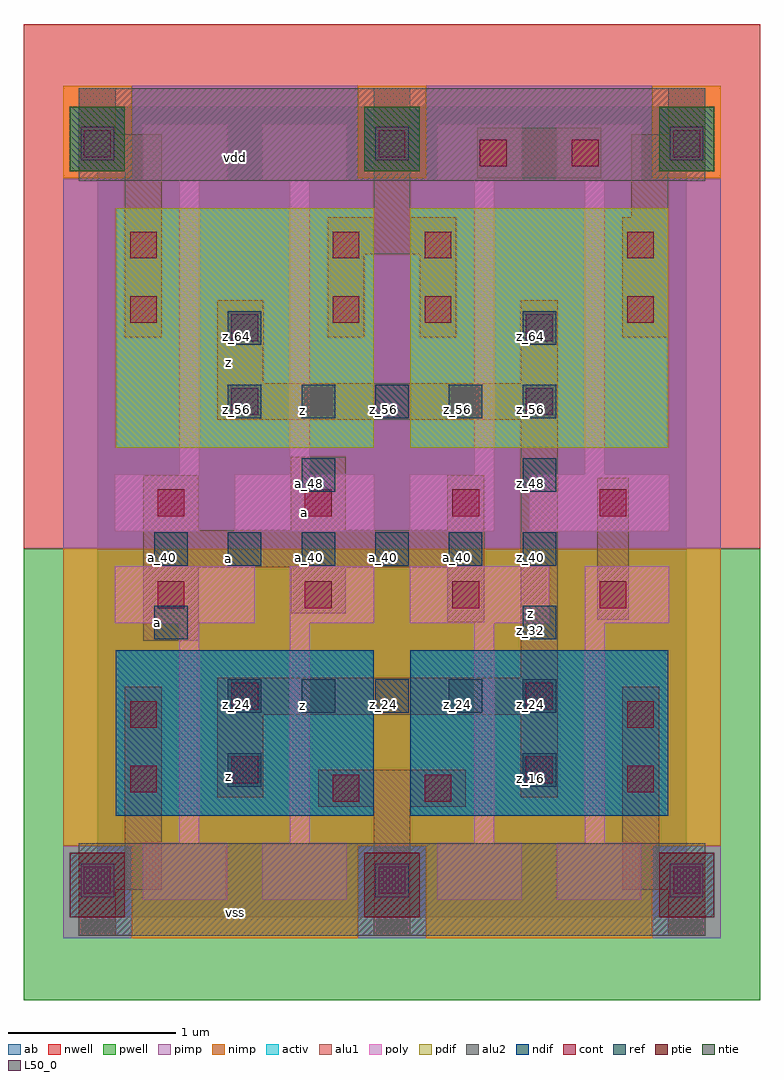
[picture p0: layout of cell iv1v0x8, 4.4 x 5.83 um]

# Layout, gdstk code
import gdstk
lib = gdstk.Library(unit=1e-6, precision=2.5e-09)
def R(c, l, rs):  # rectangles x0, y0, x1, y1
    for r in rs: c.add(gdstk.rectangle(r[:2], r[2:], *l))
def A(c, l, x, y, w, h, nx, ny, dx, dy):  # array of equal rectangles
    R(c, l, [(x+i*dx, y+j*dy, x+i*dx+w, y+j*dy+h) for i in range(nx) for j in range(ny)])
ndif = (3, 0)
pdif = (4, 0)
ntie = (5, 0)
ptie = (6, 0)
ref = (24, 0)
cont = (25, 0)
pwell = (41, 0)
nwell = (42, 0)
activ = (43, 0)
pimp = (44, 0)
nimp = (45, 0)
poly = (46, 0)
alu1 = (49, 0)
L50_0 = (50, 0)
alu2 = (51, 0)
ab = (63, 0)

iv1v0x8 = lib.new_cell('iv1v0x8')
R(iv1v0x8, ndif, [(0.11,0.605,1.65,1.595), (1.87,0.605,3.41,1.595)])
R(iv1v0x8, pdif, [(0.11,2.805,1.65,4.235), (1.87,2.805,3.41,4.235)])
A(iv1v0x8, ntie, -0.165, 4.455, 0.33, 0.385, 3, 1, 1.76, 0)
A(iv1v0x8, ptie, -0.165, 0, 0.33, 0.385, 3, 1, 1.76, 0)
A(iv1v0x8, ref, 2.54, 0.78, 0.2, 0.2, 1, 4, 0, 0.88)
A(iv1v0x8, ref, 0.78, 1.22, 0.2, 0.2, 5, 2, 0.44, 1.76)
A(iv1v0x8, ref, 0.34, 2.1, 0.2, 0.2, 6, 1, 0.44, 0)
R(iv1v0x8, ref, [(0.78,0.78,0.98,0.98), (0.34,1.66,0.54,1.86), (1.22,2.54,1.42,2.74), (0.78,3.42,0.98,3.62)])
A(iv1v0x8, cont, -0.08, 0.14, 0.16, 0.16, 3, 2, 1.76, 4.4)
A(iv1v0x8, cont, 0.36, 1.845, 0.16, 0.16, 4, 2, 0.88, 0.55)
R(iv1v0x8, cont, [(1.405,0.69,1.565,0.85), (1.955,0.69,2.115,0.85), (0.195,0.745,0.355,0.905), (3.165,0.745,3.325,0.905), (0.8,0.8,0.96,0.96), (2.56,0.8,2.72,0.96), (0.195,1.13,0.355,1.29), (3.165,1.13,3.325,1.29), (0.8,1.24,0.96,1.4), (2.56,1.24,2.72,1.4), (0.8,3,0.96,3.16), (2.56,3,2.72,3.16), (0.8,3.44,0.96,3.6), (2.56,3.44,2.72,3.6), (0.195,3.55,0.355,3.71), (1.405,3.55,1.565,3.71), (1.955,3.55,2.115,3.71), (3.165,3.55,3.325,3.71), (0.195,3.935,0.355,4.095), (1.405,3.935,1.565,4.095), (1.955,3.935,2.115,4.095), (3.165,3.935,3.325,4.095), (2.285,4.485,2.445,4.645), (2.835,4.485,2.995,4.645)])
R(iv1v0x8, pwell, [(-0.44,-0.495,3.96,2.2)])
R(iv1v0x8, nwell, [(-0.44,2.2,3.96,5.335)])
A(iv1v0x8, activ, -0.165, 0, 0.33, 0.385, 3, 2, 1.76, 4.455)
R(iv1v0x8, activ, [(0.11,0.605,1.65,1.595), (1.87,0.605,3.41,1.595), (0.11,2.805,1.65,4.235), (1.87,2.805,3.41,4.235)])
A(iv1v0x8, pimp, -0.205, -0.125, 0.41, 0.55, 3, 1, 1.76, 0)
R(iv1v0x8, pimp, [(-0.205,2.2,3.725,4.415), (0.205,4.415,1.555,4.965), (1.965,4.415,3.315,4.965)])
A(iv1v0x8, nimp, -0.205, 4.415, 0.41, 0.55, 3, 1, 1.76, 0)
R(iv1v0x8, nimp, [(0.205,-0.125,1.555,0.425), (1.965,-0.125,3.315,0.425), (-0.205,0.425,3.725,2.2)])
R(iv1v0x8, poly, [(0.27,0.105,0.775,0.445), (0.985,0.105,1.49,0.445), (2.03,0.105,2.535,0.445), (2.745,0.105,3.25,0.445), (0.49,0.445,0.61,1.755), (1.15,0.445,1.27,1.755), (2.25,0.445,2.37,1.755), (2.91,0.445,3.03,1.755), (0.105,1.755,0.94,2.095), (1.15,1.755,1.655,2.095), (1.865,1.755,2.7,2.095), (2.91,1.755,3.415,2.095), (0.105,2.305,0.61,2.645), (0.82,2.305,1.655,2.645), (1.865,2.305,2.37,2.645), (2.58,2.305,3.415,2.645), (0.49,2.645,0.61,4.395), (1.15,2.645,1.27,4.395), (2.25,2.645,2.37,4.395), (2.91,2.645,3.03,4.395), (0.27,4.395,0.775,4.735), (0.985,4.395,1.49,4.735), (2.03,4.395,2.535,4.735), (2.745,4.395,3.25,4.735)])
R(iv1v0x8, alu1, [(-0.11,-0.11,0.11,0.165), (1.65,-0.11,1.87,0.66), (3.41,-0.11,3.63,0.165), (-0.11,0.165,0.385,0.385), (3.135,0.165,3.63,0.385), (0.165,0.385,0.385,1.375), (3.135,0.385,3.355,1.375), (1.32,0.66,2.2,0.88), (0.715,0.715,0.99,1.21), (2.53,0.715,2.75,1.21), (0.715,1.21,2.75,1.43), (2.53,1.43,2.75,2.97), (0.275,1.65,0.605,2.09), (2.09,1.76,2.31,2.09), (2.985,1.775,3.175,2.625), (1.155,1.815,1.485,2.09), (0.275,2.09,2.31,2.31), (0.275,2.31,0.605,2.64), (1.155,2.31,1.485,2.75), (2.09,2.31,2.31,2.64), (0.715,2.97,2.75,3.19), (0.715,3.19,0.99,3.685), (2.53,3.19,2.75,3.685), (0.165,3.465,0.385,4.455), (1.375,3.465,1.595,3.96), (1.925,3.465,2.145,3.96), (3.135,3.465,3.41,4.18), (1.375,3.96,2.145,4.18), (1.65,4.18,1.87,4.95), (3.19,4.18,3.41,4.455), (2.27,4.415,3.01,4.715), (-0.11,4.455,0.385,4.675), (3.19,4.455,3.63,4.675), (-0.11,4.675,0.11,4.95), (3.41,4.675,3.63,4.95)])
A(iv1v0x8, L50_0, -0.1, 0.12, 0.2, 0.2, 3, 2, 1.76, 4.4)
R(iv1v0x8, alu2, [(-0.11,-0.11,3.63,0.44), (-0.11,4.4,3.63,4.95)])
R(iv1v0x8, ab, [(0,0,3.52,4.84)])
iv1v0x8.add(gdstk.Label('z', (0.7825,0.8375), layer=49, texttype=0))
iv1v0x8.add(gdstk.Label('z', (1.2225,1.265), layer=49, texttype=0))
iv1v0x8.add(gdstk.Label('z', (2.585,1.815), layer=49, texttype=0))
iv1v0x8.add(gdstk.Label('a', (0.3575,1.76), layer=49, texttype=0))
iv1v0x8.add(gdstk.Label('a', (0.7825,2.145), layer=49, texttype=0))
iv1v0x8.add(gdstk.Label('a', (1.2375,2.42), layer=49, texttype=0))
iv1v0x8.add(gdstk.Label('z', (1.2225,3.025), layer=49, texttype=0))
iv1v0x8.add(gdstk.Label('z', (0.7825,3.3125), layer=49, texttype=0))
iv1v0x8.add(gdstk.Label('vss', (0.825,0.0275), layer=51, texttype=0))
iv1v0x8.add(gdstk.Label('vdd', (0.825,4.5375), layer=51, texttype=0))
iv1v0x8.add(gdstk.Label('a_48', (1.27,2.59), layer=24, texttype=0))
iv1v0x8.add(gdstk.Label('z_24', (0.83,1.27), layer=24, texttype=0))
iv1v0x8.add(gdstk.Label('z_56', (0.83,3.03), layer=24, texttype=0))
iv1v0x8.add(gdstk.Label('z_64', (0.83,3.47), layer=24, texttype=0))
iv1v0x8.add(gdstk.Label('z_56', (1.27,3.03), layer=24, texttype=0))
iv1v0x8.add(gdstk.Label('z_56', (1.71,3.03), layer=24, texttype=0))
iv1v0x8.add(gdstk.Label('z_56', (2.15,3.03), layer=24, texttype=0))
iv1v0x8.add(gdstk.Label('z_24', (2.15,1.27), layer=24, texttype=0))
iv1v0x8.add(gdstk.Label('z_24', (1.71,1.27), layer=24, texttype=0))
iv1v0x8.add(gdstk.Label('z_24', (1.27,1.27), layer=24, texttype=0))
iv1v0x8.add(gdstk.Label('a_40', (2.15,2.15), layer=24, texttype=0))
iv1v0x8.add(gdstk.Label('a_40', (1.71,2.15), layer=24, texttype=0))
iv1v0x8.add(gdstk.Label('a_40', (1.27,2.15), layer=24, texttype=0))
iv1v0x8.add(gdstk.Label('a_40', (0.83,2.15), layer=24, texttype=0))
iv1v0x8.add(gdstk.Label('z_16', (2.59,0.83), layer=24, texttype=0))
iv1v0x8.add(gdstk.Label('z_24', (2.59,1.27), layer=24, texttype=0))
iv1v0x8.add(gdstk.Label('z_32', (2.59,1.71), layer=24, texttype=0))
iv1v0x8.add(gdstk.Label('z_40', (2.59,2.15), layer=24, texttype=0))
iv1v0x8.add(gdstk.Label('z_48', (2.59,2.59), layer=24, texttype=0))
iv1v0x8.add(gdstk.Label('z_56', (2.59,3.03), layer=24, texttype=0))
iv1v0x8.add(gdstk.Label('z_64', (2.59,3.47), layer=24, texttype=0))
iv1v0x8.add(gdstk.Label('z_16', (0.83,0.83), layer=24, texttype=0))
iv1v0x8.add(gdstk.Label('a_32', (0.39,1.71), layer=24, texttype=0))
iv1v0x8.add(gdstk.Label('a_40', (0.39,2.15), layer=24, texttype=0))

lib.write_gds('iv1v0x8.gds')
